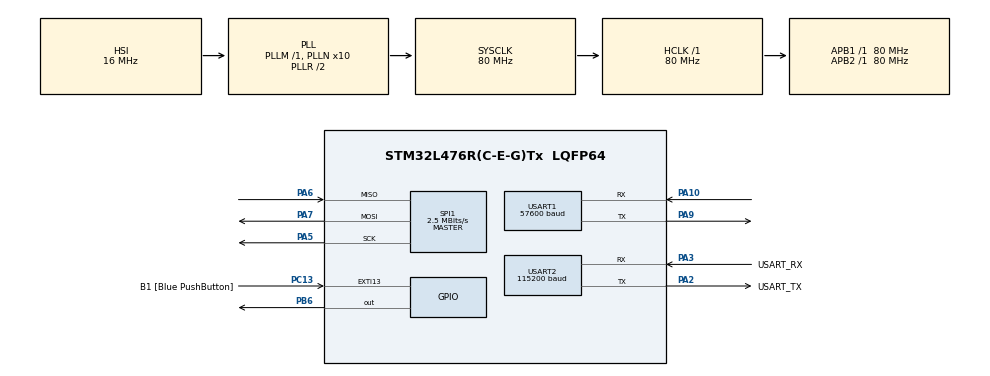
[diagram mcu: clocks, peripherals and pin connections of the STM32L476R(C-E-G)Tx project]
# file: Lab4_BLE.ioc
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Mcu.Family=STM32L4
Mcu.Name=STM32L476R(C-E-G)Tx
Mcu.Package=LQFP64
NVIC.PriorityGroup=NVIC_PRIORITYGROUP_4
NVIC.USART1_IRQn=true\:0\:0\:false\:false\:true\:true\:true\:true
PA10.Mode=Asynchronous
PA10.Signal=USART1_RX
PA13\ (JTMS-SWDIO).GPIO_Label=TMS
PA13\ (JTMS-SWDIO).Mode=Serial_Wire
PA13\ (JTMS-SWDIO).Signal=SYS_JTMS-SWDIO
PA14\ (JTCK-SWCLK).GPIO_Label=TCK
PA14\ (JTCK-SWCLK).Mode=Serial_Wire
PA14\ (JTCK-SWCLK).Signal=SYS_JTCK-SWCLK
PA2.GPIO_Label=USART_TX
PA2.GPIO_Mode=GPIO_MODE_AF_PP
PA2.GPIO_PuPd=GPIO_NOPULL
PA2.GPIO_Speed=GPIO_SPEED_FREQ_VERY_HIGH
PA2.Mode=Asynchronous
PA2.Signal=USART2_TX
PA3.GPIO_Label=USART_RX
PA3.GPIO_Mode=GPIO_MODE_AF_PP
PA3.GPIO_PuPd=GPIO_NOPULL
PA3.GPIO_Speed=GPIO_SPEED_FREQ_VERY_HIGH
PA3.Mode=Asynchronous
PA3.Signal=USART2_RX
PA5.Mode=Full_Duplex_Master
PA5.Signal=SPI1_SCK
PA6.Mode=Full_Duplex_Master
PA6.Signal=SPI1_MISO
PA7.Mode=Full_Duplex_Master
PA7.Signal=SPI1_MOSI
PA9.Mode=Asynchronous
PA9.Signal=USART1_TX
PB3\ (JTDO-TRACESWO).GPIO_Label=SWO
PB3\ (JTDO-TRACESWO).Signal=SYS_JTDO-SWO
PB6.Signal=GPIO_Output
PC13.GPIO_Label=B1 [Blue PushButton]
PC13.GPIO_ModeDefaultEXTI=GPIO_MODE_IT_FALLING
PC13.GPIO_PuPd=GPIO_NOPULL
PC13.Signal=GPXTI13
PC14-OSC32_IN\ (PC14).Mode=LSE-External-Oscillator
PC14-OSC32_IN\ (PC14).Signal=RCC_OSC32_IN
PC15-OSC32_OUT\ (PC15).Mode=LSE-External-Oscillator
PC15-OSC32_OUT\ (PC15).Signal=RCC_OSC32_OUT
PH0-OSC_IN\ (PH0).Signal=RCC_OSC_IN
PH1-OSC_OUT\ (PH1).Signal=RCC_OSC_OUT
ProjectManager.HeapSize=0x200
ProjectManager.StackSize=0x400
ProjectManager.TargetToolchain=STM32CubeIDE
RCC.ADCFreq_Value=64000000
RCC.AHBFreq_Value=80000000
RCC.APB1Freq_Value=80000000
RCC.APB1TimFreq_Value=80000000
RCC.APB2Freq_Value=80000000
RCC.APB2TimFreq_Value=80000000
RCC.CortexFreq_Value=80000000
RCC.HCLKFreq_Value=80000000
RCC.HSE_VALUE=8000000
RCC.HSI_VALUE=16000000
RCC.MSI_VALUE=4000000
RCC.PLLN=10
RCC.PLLSourceVirtual=RCC_PLLSOURCE_HSI
RCC.PREFETCH_ENABLE=1
RCC.SYSCLKFreq_VALUE=80000000
RCC.SYSCLKSource=RCC_SYSCLKSOURCE_PLLCLK
RCC.USBFreq_Value=64000000
RCC.VCOOutputFreq_Value=160000000
SPI1.BaudRatePrescaler=SPI_BAUDRATEPRESCALER_32
SPI1.CalculateBaudRate=2.5 MBits/s
SPI1.DataSize=SPI_DATASIZE_8BIT
SPI1.Direction=SPI_DIRECTION_2LINES
SPI1.Mode=SPI_MODE_MASTER
SPI1.NSSPMode=SPI_NSS_PULSE_DISABLE
SPI1.VirtualType=VM_MASTER
USART1.BaudRate=57600
USART1.VirtualMode-Asynchronous=VM_ASYNC
USART2.BaudRate=115200
USART2.VirtualMode-Asynchronous=VM_ASYNC
board=NUCLEO-L476RG

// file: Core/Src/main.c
/* USER CODE BEGIN Header */
/**
  ******************************************************************************
  * @file           : main.c
  * @brief          : Main program body
  ******************************************************************************
  * @attention
  *
  * Copyright (c) 2023 STMicroelectronics.
  * All rights reserved.
  *
  * This software is licensed under terms that can be found in the LICENSE file
  * in the root directory of this software component.
  * If no LICENSE file comes with this software, it is provided AS-IS.
  *
  ******************************************************************************
  */
/* USER CODE END Header */
#include "main.h"

/* USER CODE BEGIN Includes */
#include <stdio.h>
#include <stdlib.h>
#include <string.h>
/* USER CODE END Includes */

/* USER CODE BEGIN PM */

/************ASCII CHARACTERS**********/
#define DEL				0x08
#define EOT				0x04
#define NL				0x0D
#define CR				0x0A
#define SPACE			0x20

/************FILE MANAGEMENT***********/

//Chip Info
//22:46:51  $GPRMC,224651.00,A,4259.03282,N,08541.36921,W,0.033,,110223,,,A*61
//22:46:51  $GPVTG,,T,,M,0.033,N,0.062,K,A*27
//22:46:51  $GPGGA,224651.00,4259.03282,N,08541.36921,W,1,05,1.84,209.9,M,-34.5,M,,*6B
//22:46:51  $GPGSA,A,3,19,03,06,17,14,,,,,,,,3.65,1.84,3.15*06
//22:46:51  $GPGSV,2,1,08,01,27,045,16,03,26,089,14,06,39,204,20,11,02,212,*78
//22:46:51  $GPGSV,2,2,08,14,59,126,29,17,73,010,16,19,57,281,29,24,21,310,14*7A
//22:46:51  $GPGLL,4259.03282,N,08541.36921,W,224651.00,A,A*7B

//
#define DIR_FIL_ADDR	0x000000	//Initial addr of the Directory File
#define BLOCK_1_ADDR	0x001000	//The address of the first block in memory (excluding The Directory File)
#define	BLOCK_OFFSET	0x001000	//Add this value to the initial 4KB block addr to get the next block's initial address
#define END_ADDR_OFF	0x000FFF	//Add this value to the initial 4KB block addr value to get the end address
#define PAGE_END_OFF	0x0000FF
#define PAGE_OFFSET		0x000100
#define LAST_PAGE_OFF	0x000F00
#define TOC_ADDR		0x000000
#define TOC_OFFSET		0x000020

//Directory File Macros
#define BLOCKS_4KB		127
#define BLOCKS_32KB		16
#define BLOCKS_64KB		8
#define PAGE_COUNT		16

/**********SPI FLASH COMMANDS**********/
const uint8_t WR_EN = 0x06;			//Write Enable
const uint8_t WR_EN_VSR = 0x50;		//Write Enable for Volatile Status Register
const uint8_t WR_DIS = 0x04;		//Write Disable
const uint8_t RD_SR = 0x05;			//Read Status Register
const uint8_t WR_SR = 0x01;			//Write Status Register
const uint8_t RD_DATA = 0x03;		//Read Data
const uint8_t RD_FAST = 0x0B;		//Read Fast
const uint8_t RD_FAST_DO = 0x3B;	//Read Fast Dual Output
const uint8_t RD_FAST_DIO = 0xBB;	//Read Fast Dual Input/Output
const uint8_t PG_PROG = 0x02;		//Page Program
const uint8_t ERASE_4KB = 0x20;		//Sector Erase 4KB
const uint8_t ERASE_32KB = 0x52;	//Sector Erase 32KB
const uint8_t ERASE_64KB = 0xD8;	//Sector Erase 64KB
const uint8_t ERASE_CHIP = 0x60;	//Erase Chip Memory
const uint8_t PWR_DWN = 0xB9;		//Power Down
const uint8_t REL_PWR_DWN = 0xAB;	//Release Power Down

///**********WRONG SPI FLASH COMMANDS**********/
////Read
//const uint8_t READ_ARRAY_0 = 0x0B;		//Up to 104 MHz
//const uint8_t READ_ARRAY_1 = 0x03;		//Up to 33 MHz
//const uint8_t READ_DUAL_OUTPUT = 0x03;		//Up to 50 MHz
//
////Program and Erase Commands
//const uint8_t ERASE_PAGE = 0x81;		//Up to 104 MHz
//const uint8_t ERASE_4KBLK = 0x20;		//Up to 104 MHz
//const uint8_t ERASE_32KBLK = 0x52;		//Up to 104 MHz
//const uint8_t ERASE_64KBLK = 0xD8;		//Up to 104 MHz
//const uint8_t ERASE_CHIP = 0x60;		//Up to 104 MHz
//const uint8_t ERASE_BYTE = 0xC7;		//Up to 104 MHz
//const uint8_t PROG_BYTE = 0x02;			//Up to 104 MHz
//const uint8_t PROG_PAGE = 0x02;			//Up to 104 MHz
//const uint8_t PROG_SEQ_0 = 0xAD;  		//Up to 104 MHz
//const uint8_t PROG_SEQ_1 = 0xAF;  		//Up to 104 MHz
//const uint8_t PROG_DUAL_INPUT = 0xA2;	//Up to 104 MHz
//
//
////Protection Commands
//const uint8_t WR_EN = 0x06;  			//Up to 104 MHz
//const uint8_t WR_DIS = 0x04;  			//Up to 104 MHz
//const uint8_t PROT_SECT = 0x36;  		//Up to 104 MHz
//const uint8_t UNPROT_SECT = 0x39;  		//Up to 104 MHz
//const uint8_t RD_SECT_PROT_REG = 0x3C;  //Up to 104 MHz
//
////Security Commands
//const uint8_t PROG_OTP = 0x9B;			//Up to 104 MHz
//const uint8_t READ_OTP = 0x77;			//Up to 104 MHz
//
////Status Register Commands
//const uint8_t READ_STAT_REG = 0x05;  	//Up to 104 MHz
//const uint8_t ACTIVE_STAT_INT = 0x25;  	//Up to 104 MHz
//const uint8_t WR_STAT_B1 = 0x01;  		//Up to 104 MHz
//const uint8_t WR_STAT_B2 = 0x31;  		//Up to 104 MHz
//
////Misc Commands
//const uint8_t FLASH_RESET = 0xF0;  		//Up to 104 MHz
//const uint8_t MFT_ID = 0x9F;  			//Up to 104 MHz
//const uint8_t DEEP_PWR_DWN = 0xB9;  	//Up to 104 MHz
//const uint8_t RESUME = 0xAB;  			//Up to 104 MHz
//const uint8_t ULTRA_DPD = 0x79;  		//Up to 104 MHz

/* USER CODE END PM */

SPI_HandleTypeDef hspi1;

UART_HandleTypeDef huart1;
UART_HandleTypeDef huart2;

void SystemClock_Config(void);
static void MX_GPIO_Init(void);
static void MX_USART2_UART_Init(void);
static void MX_SPI1_Init(void);
static void MX_USART1_UART_Init(void);
/* USER CODE BEGIN PFP */
void writeEnable(void);
void writeDisable(void);
void readStatusRegister(void);
void pageProgram(uint32_t address, uint8_t *data, uint32_t size);
void readData(uint32_t address, uint8_t *data, uint32_t size);
void erase4KB(uint32_t address);
void erase32KB(uint32_t address);
void erase64KB(uint32_t address);
void eraseChip(void);

void confirmCmd(void);
uint8_t fileCensus(void);
uint8_t pageCensus(int blockStartAddr);
int getFileStart(uint8_t fileNum);
int getFileEnd(uint8_t fileNum);
void deleteFile(uint8_t fileNum);
void readFile(uint8_t fileNum);
int getFileSize(uint8_t fileNum);
int getUnavailableMemory(void);
int getAvailableMemory(void);
void storeFile(void);
void getTitle(uint8_t fileNum);
void printTOC(void);
void formatTOC(void);

/* USER CODE END PFP */

/* USER CODE BEGIN 0 */
// Global flags
volatile uint8_t spi_xmit_flag = 0;
volatile uint8_t spi_recv_flag = 0;

uint8_t rxData[20], cmd[50], cmdArg[50];
uint8_t txData[20];
uint8_t executeCmd, i, a, word;//Execute Command
uint8_t cmdResponse[100];

//char file[1028] = "Baby Baby\n\r\n\rBaby, baby, naughty baby,\n\rHush, you squalling thing, I say.\n\rPeace this moment, peace, or maybe\n\rBonaparte will pass this way.\n\r\n\rBaby, baby, he's a giant,\n\rTall and black as Rouen steeple,\n\rAnd he breakfasts, dines, rely on't,\n\rEvery day on naughty people.\n\r\n\rBaby, baby, if he hears you\n\rAs he gallops past the house,\n\rLimb from limb at once he'll tear you,\n\rJust as pussy tears a mouse.\n\r\n\rAnd he'll beat you, beat you, beat you,\n\rAnd he'll beat you into pap,\n\rAnd he'll eat you, eat you, eat you,\n\rEvery morsel snap, snap, snap.";

char file[1028];
char title[50] = {0};
char uart_buf[50];
int uart_buf_len;
uint8_t spi_buf[256];
uint8_t fileCount, pageCount;
uint32_t addr;

uint8_t* statReg;
uint8_t SRP, TB, BP2, BP1, BP0, WEL, BUSY;

uint8_t store, fileReceived;

int n;
/* USER CODE END 0 */

int main(void)
{

  /* MCU Configuration--------------------------------------------------------*/

  /* Reset of all peripherals, Initializes the Flash interface and the Systick. */
  HAL_Init();

  /* Configure the system clock */
  SystemClock_Config();

  /* Initialize all configured peripherals */
  MX_GPIO_Init();
  MX_USART2_UART_Init();
  MX_SPI1_Init();
  MX_USART1_UART_Init();
  /* USER CODE BEGIN 2 */

	//HAL_StatusTypeDef HAL_UART_Receive_IT(UART_HandleTypeDef *huart, uint8_t *pData, uint16_t Size)
	HAL_UART_Receive_IT(&huart1, rxData, 1);

	//HAL_StatusTypeDef HAL_UART_Transmit_IT(UART_HandleTypeDef *huart, const uint8_t *pData, uint16_t Size)
	HAL_UART_Transmit_IT(&huart1, txData, 1);

	// CS pin should default high
	HAL_GPIO_WritePin(GPIOB, GPIO_PIN_6, GPIO_PIN_SET);

//	/*****************COMMENT BELOW********************/
//	// Say something
//	uart_buf_len = sprintf(uart_buf, "SPI Test\r\n");
//	HAL_UART_Transmit(&huart2, (uint8_t *)uart_buf, uart_buf_len, 100);
//
//	addr = BLOCK_1_ADDR;
////	erase4KB(addr);

//	spi_buf[0] = 0xFF;
//	spi_buf[1] = 0xFF;
//	spi_buf[2] = 0xFF;
//
//	addr = BLOCK_1_ADDR;
//	readData(addr, spi_buf, 200);
//
//	readStatusRegister();
//	writeEnable();
//	readStatusRegister();
//
//	// Test bytes to write to EEPROM
//	spi_buf[0] = 0x12;
//	spi_buf[1] = 0x34;
//	spi_buf[2] = 0x56;
//
//	// Set starting address
//	addr = BLOCK_1_ADDR;
//
//	pageProgram(addr, spi_buf, 3);
//
//	spi_buf[0] = 0xFF;
//	spi_buf[1] = 0xFF;
//	spi_buf[2] = 0xFF;
//
//	addr = BLOCK_1_ADDR;
//	readData(addr, spi_buf, 3);
//	//buffer should read 12, 34, 56
//
//	readFile(1);

//	eraseChip();

//	pageProgram(0x000000 + BLOCK_OFFSET, (uint8_t*)file, 255);	//Store the incoming file at the next available location.
//	readData(0x000000 + BLOCK_OFFSET, spi_buf, 255);
//	HAL_UART_Transmit_IT(&huart1, spi_buf, 255);
//	HAL_UART_Transmit_IT(&huart1, "Hello World\n\r", 15);
//	getTitle(1);

//	int firstAddr, lastAddr, fileSize;
//	firstAddr = getFileStart(2);
//	lastAddr = getFileEnd(2);
//	fileSize = getFileSize(1);

	strcpy((char*)cmdResponse,"\r\n-->");
	HAL_UART_Transmit_IT(&huart1, cmdResponse, strlen((char *)cmdResponse));
	HAL_Delay(20);
  /* USER CODE END 2 */

  /* Infinite loop */
  /* USER CODE BEGIN WHILE */
	while (1){
		confirmCmd();
		if(fileReceived){
			storeFile();
		}
    /* USER CODE END WHILE */

	}
}

void SystemClock_Config(void)
{
  RCC_OscInitTypeDef RCC_OscInitStruct = {0};
  RCC_ClkInitTypeDef RCC_ClkInitStruct = {0};

  /** Configure the main internal regulator output voltage
  */
  if (HAL_PWREx_ControlVoltageScaling(PWR_REGULATOR_VOLTAGE_SCALE1) != HAL_OK)
  {
    Error_Handler();
  }

  /** Initializes the RCC Oscillators according to the specified parameters
  * in the RCC_OscInitTypeDef structure.
  */
  RCC_OscInitStruct.OscillatorType = RCC_OSCILLATORTYPE_HSI;
  RCC_OscInitStruct.HSIState = RCC_HSI_ON;
  RCC_OscInitStruct.HSICalibrationValue = RCC_HSICALIBRATION_DEFAULT;
  RCC_OscInitStruct.PLL.PLLState = RCC_PLL_ON;
  RCC_OscInitStruct.PLL.PLLSource = RCC_PLLSOURCE_HSI;
  RCC_OscInitStruct.PLL.PLLM = 1;
  RCC_OscInitStruct.PLL.PLLN = 10;
  RCC_OscInitStruct.PLL.PLLP = RCC_PLLP_DIV7;
  RCC_OscInitStruct.PLL.PLLQ = RCC_PLLQ_DIV2;
  RCC_OscInitStruct.PLL.PLLR = RCC_PLLR_DIV2;
  if (HAL_RCC_OscConfig(&RCC_OscInitStruct) != HAL_OK)
  {
    Error_Handler();
  }

  /** Initializes the CPU, AHB and APB buses clocks
  */
  RCC_ClkInitStruct.ClockType = RCC_CLOCKTYPE_HCLK|RCC_CLOCKTYPE_SYSCLK
                              |RCC_CLOCKTYPE_PCLK1|RCC_CLOCKTYPE_PCLK2;
  RCC_ClkInitStruct.SYSCLKSource = RCC_SYSCLKSOURCE_PLLCLK;
  RCC_ClkInitStruct.AHBCLKDivider = RCC_SYSCLK_DIV1;
  RCC_ClkInitStruct.APB1CLKDivider = RCC_HCLK_DIV1;
  RCC_ClkInitStruct.APB2CLKDivider = RCC_HCLK_DIV1;

  if (HAL_RCC_ClockConfig(&RCC_ClkInitStruct, FLASH_LATENCY_4) != HAL_OK)
  {
    Error_Handler();
  }
}

static void MX_SPI1_Init(void)
{

  /* SPI1 parameter configuration*/
  hspi1.Instance = SPI1;
  hspi1.Init.Mode = SPI_MODE_MASTER;
  hspi1.Init.Direction = SPI_DIRECTION_2LINES;
  hspi1.Init.DataSize = SPI_DATASIZE_8BIT;
  hspi1.Init.CLKPolarity = SPI_POLARITY_LOW;
  hspi1.Init.CLKPhase = SPI_PHASE_1EDGE;
  hspi1.Init.NSS = SPI_NSS_SOFT;
  hspi1.Init.BaudRatePrescaler = SPI_BAUDRATEPRESCALER_32;
  hspi1.Init.FirstBit = SPI_FIRSTBIT_MSB;
  hspi1.Init.TIMode = SPI_TIMODE_DISABLE;
  hspi1.Init.CRCCalculation = SPI_CRCCALCULATION_DISABLE;
  hspi1.Init.CRCPolynomial = 7;
  hspi1.Init.CRCLength = SPI_CRC_LENGTH_DATASIZE;
  hspi1.Init.NSSPMode = SPI_NSS_PULSE_DISABLE;
  if (HAL_SPI_Init(&hspi1) != HAL_OK)
  {
    Error_Handler();
  }

}

static void MX_USART1_UART_Init(void)
{

  huart1.Instance = USART1;
  huart1.Init.BaudRate = 57600;
  huart1.Init.WordLength = UART_WORDLENGTH_8B;
  huart1.Init.StopBits = UART_STOPBITS_1;
  huart1.Init.Parity = UART_PARITY_NONE;
  huart1.Init.Mode = UART_MODE_TX_RX;
  huart1.Init.HwFlowCtl = UART_HWCONTROL_NONE;
  huart1.Init.OverSampling = UART_OVERSAMPLING_16;
  huart1.Init.OneBitSampling = UART_ONE_BIT_SAMPLE_DISABLE;
  huart1.AdvancedInit.AdvFeatureInit = UART_ADVFEATURE_NO_INIT;
  if (HAL_UART_Init(&huart1) != HAL_OK)
  {
    Error_Handler();
  }

}

static void MX_USART2_UART_Init(void)
{

  huart2.Instance = USART2;
  huart2.Init.BaudRate = 115200;
  huart2.Init.WordLength = UART_WORDLENGTH_8B;
  huart2.Init.StopBits = UART_STOPBITS_1;
  huart2.Init.Parity = UART_PARITY_NONE;
  huart2.Init.Mode = UART_MODE_TX_RX;
  huart2.Init.HwFlowCtl = UART_HWCONTROL_NONE;
  huart2.Init.OverSampling = UART_OVERSAMPLING_16;
  huart2.Init.OneBitSampling = UART_ONE_BIT_SAMPLE_DISABLE;
  huart2.AdvancedInit.AdvFeatureInit = UART_ADVFEATURE_NO_INIT;
  if (HAL_UART_Init(&huart2) != HAL_OK)
  {
    Error_Handler();
  }

}

static void MX_GPIO_Init(void)
{
  GPIO_InitTypeDef GPIO_InitStruct = {0};

  /* GPIO Ports Clock Enable */
  __HAL_RCC_GPIOC_CLK_ENABLE();
  __HAL_RCC_GPIOH_CLK_ENABLE();
  __HAL_RCC_GPIOA_CLK_ENABLE();
  __HAL_RCC_GPIOB_CLK_ENABLE();

  /*Configure GPIO pin Output Level */
  HAL_GPIO_WritePin(GPIOB, GPIO_PIN_6, GPIO_PIN_RESET);

  /*Configure GPIO pin : B1_Pin */
  GPIO_InitStruct.Pin = B1_Pin;
  GPIO_InitStruct.Mode = GPIO_MODE_IT_FALLING;
  GPIO_InitStruct.Pull = GPIO_NOPULL;
  HAL_GPIO_Init(B1_GPIO_Port, &GPIO_InitStruct);

  /*Configure GPIO pin : PB6 */
  GPIO_InitStruct.Pin = GPIO_PIN_6;
  GPIO_InitStruct.Mode = GPIO_MODE_OUTPUT_PP;
  GPIO_InitStruct.Pull = GPIO_NOPULL;
  GPIO_InitStruct.Speed = GPIO_SPEED_FREQ_LOW;
  HAL_GPIO_Init(GPIOB, &GPIO_InitStruct);

}

/* USER CODE BEGIN 4 */
/*WRITE ENABLE*/  //WORKS
void writeEnable(void){
	HAL_GPIO_WritePin(GPIOB, GPIO_PIN_6, GPIO_PIN_RESET);
	HAL_SPI_Transmit(&hspi1, (uint8_t *)&WR_EN, 1, 100);
	HAL_GPIO_WritePin(GPIOB, GPIO_PIN_6, GPIO_PIN_SET);
}

/*WRITE DISABLE*/  //WORKS
void writeDisable(void){
	HAL_GPIO_WritePin(GPIOB, GPIO_PIN_6, GPIO_PIN_RESET);
	HAL_SPI_Transmit(&hspi1, (uint8_t *)&WR_DIS, 1, 100);
	HAL_GPIO_WritePin(GPIOB, GPIO_PIN_6, GPIO_PIN_SET);
}

/*READ STATUS REGISTER*/  //WORKS
void readStatusRegister(void){
	//Read Status Register
	HAL_GPIO_WritePin(GPIOB, GPIO_PIN_6, GPIO_PIN_RESET);
	HAL_SPI_Transmit(&hspi1, (uint8_t *)&RD_SR, 1, 100);
	HAL_SPI_Receive(&hspi1, statReg, 1, 100);
	HAL_GPIO_WritePin(GPIOB, GPIO_PIN_6, GPIO_PIN_SET);

	SRP = (*statReg 	& 0b10000000) >> 7;	//Status Register Protect
	TB  = (*statReg 	& 0b00100000) >> 5;	//Top/Bottom Protect
	BP2 = (*statReg 	& 0b00010000) >> 4;	//Block Protect 2
	BP1 = (*statReg 	& 0b00001000) >> 3;	//Block Protect 1
	BP0 = (*statReg 	& 0b00000100) >> 2;	//Block Protect 0
	WEL = (*statReg 	& 0b00000010) >> 1;	//Write Enable Latch
	BUSY = (*statReg & 0b00000001) >> 0;	//Erase/Write In Progress

	//	Print out status register
//	uart_buf_len = sprintf(uart_buf, "SRP: 0x%02x\r\n", SRP);
//	HAL_UART_Transmit(&huart2, (uint8_t *)uart_buf, uart_buf_len, 100);
//	uart_buf_len = sprintf(uart_buf, "TB: 0x%02x\r\n", SRP);
//	HAL_UART_Transmit(&huart2, (uint8_t *)uart_buf, uart_buf_len, 100);
//	uart_buf_len = sprintf(uart_buf, "BP2: 0x%02x\r\n", SRP);
//	HAL_UART_Transmit(&huart2, (uint8_t *)uart_buf, uart_buf_len, 100);
//	uart_buf_len = sprintf(uart_buf, "BP1: 0x%02x\r\n", SRP);
//	HAL_UART_Transmit(&huart2, (uint8_t *)uart_buf, uart_buf_len, 100);
//	uart_buf_len = sprintf(uart_buf, "BP0: 0x%02x\r\n", SRP);
//	HAL_UART_Transmit(&huart2, (uint8_t *)uart_buf, uart_buf_len, 100);
//	uart_buf_len = sprintf(uart_buf, "WEL: 0x%02x\r\n", SRP);
//	HAL_UART_Transmit(&huart2, (uint8_t *)uart_buf, uart_buf_len, 100);
//	uart_buf_len = sprintf(uart_buf, "BSY: 0x%02x\r\n", SRP);
//	HAL_UART_Transmit(&huart2, (uint8_t *)uart_buf, uart_buf_len, 100);
}

/*PAGE PROGRAM*/  //WORKS
void pageProgram(uint32_t address, uint8_t *data, uint32_t size){
	uint8_t command[4] = {PG_PROG, (address >> 16) & 0xFF, (address >> 8) & 0xFF, address & 0xFF};
	writeEnable();
	HAL_GPIO_WritePin(GPIOB, GPIO_PIN_6, GPIO_PIN_RESET);
	HAL_SPI_Transmit(&hspi1, command, 4, 100);
	HAL_SPI_Transmit(&hspi1, data, size, 100);
	HAL_GPIO_WritePin(GPIOB, GPIO_PIN_6, GPIO_PIN_SET);
	do{
		readStatusRegister();
	}while(BUSY && WEL);
}

/*READ DATA*/  //WORKS
void readData(uint32_t address, uint8_t *data, uint32_t size){
	uint8_t command[4] = {RD_DATA, (address >> 16) & 0xFF, (address >> 8) & 0xFF, address & 0xFF};
	HAL_GPIO_WritePin(GPIOB, GPIO_PIN_6, GPIO_PIN_RESET);
	HAL_SPI_Transmit(&hspi1, command, 4, 100);
	HAL_SPI_Receive(&hspi1, data, size, 100);
	HAL_GPIO_WritePin(GPIOB, GPIO_PIN_6, GPIO_PIN_SET);
}

/*ERASE 4K*/  //WORKS
void erase4KB(uint32_t address){
	uint8_t command[4] = {ERASE_4KB, (address >> 16) & 0xFF, (address >> 8) & 0xFF, address & 0xFF};
	writeEnable();
	HAL_GPIO_WritePin(GPIOB, GPIO_PIN_6, GPIO_PIN_RESET);
	HAL_SPI_Transmit(&hspi1, command, 4, 100);
	HAL_GPIO_WritePin(GPIOB, GPIO_PIN_6, GPIO_PIN_SET);
	do{
		readStatusRegister();
	}while(BUSY && WEL);
}

/*ERASE 32K*/  //WORKS
void erase32KB(uint32_t address){
	uint8_t command[4] = {ERASE_32KB, (address >> 16) & 0xFF, (address >> 8) & 0xFF, address & 0xFF};
	writeEnable();
	HAL_GPIO_WritePin(GPIOB, GPIO_PIN_6, GPIO_PIN_RESET);
	HAL_SPI_Transmit(&hspi1, command, 4, 100);
	HAL_GPIO_WritePin(GPIOB, GPIO_PIN_6, GPIO_PIN_SET);
	do{
		readStatusRegister();
	}while(BUSY && WEL);
}

/*ERASE 64K*/  //WORKS
void erase64KB(uint32_t address){
	uint8_t command[4] = {ERASE_64KB, (address >> 16) & 0xFF, (address >> 8) & 0xFF, address & 0xFF};
	writeEnable();
	HAL_GPIO_WritePin(GPIOB, GPIO_PIN_6, GPIO_PIN_RESET);
	HAL_SPI_Transmit(&hspi1, command, 4, 100);
	HAL_GPIO_WritePin(GPIOB, GPIO_PIN_6, GPIO_PIN_SET);
	do{
		readStatusRegister();
	}while(BUSY && WEL);
}

/*ERASE CHIPK*/  //WORKS
void eraseChip(void){
	writeEnable();
	HAL_GPIO_WritePin(GPIOB, GPIO_PIN_6, GPIO_PIN_RESET);
	HAL_SPI_Transmit(&hspi1, (uint8_t *)&ERASE_CHIP, 1, 100);
	HAL_GPIO_WritePin(GPIOB, GPIO_PIN_6, GPIO_PIN_SET);
	do{
		readStatusRegister();
	}while(BUSY && WEL);
}

void storeFile(void){
	uint8_t fileCount, pageCount = 0;
	fileCount = fileCensus();
	char filePacket[255];
	int address = fileCount * BLOCK_OFFSET;	//Get the address of the last file in memory
	int fileSize = strlen((char *)file);
	if(fileSize > 255){
		for(int startLocation = 0; startLocation < fileSize; startLocation += PAGE_OFFSET){
			int tempAddr = address + BLOCK_OFFSET + (PAGE_OFFSET * pageCount);
			memset((char *)filePacket, '\0', strlen((char *)filePacket));
			memcpy(filePacket, file + startLocation, PAGE_OFFSET);
			pageProgram(tempAddr, (uint8_t*)filePacket, PAGE_OFFSET);	//Store the incoming file at the next available location.
			HAL_Delay(500);
			pageCount++;
		}
	}else{
		pageProgram(address + BLOCK_OFFSET, (uint8_t*)file, 255);	//Store the incoming file at the next available location.
	}
	//Format the TOC after storing the data.
	formatTOC();
	memset((char *)file, '\0', strlen((char *)file));/*<--------------------------------------------------------------------------------------------------------------------*/
	strcpy((char*)cmdResponse,"\r\n-->");
	HAL_UART_Transmit_IT(&huart1, cmdResponse, strlen((char *)cmdResponse));

	memset((char *)cmd, '\0', strlen((char *)cmd));
	memset((char *)cmdArg, '\0', strlen((char *)cmdArg));
	fileReceived = 0;
}

void confirmCmd(void){
	if(executeCmd){
		if (strcmp((char*)cmd, "STORE") == 0){							//DONE
			//Send receipt of command
//			strcpy((char*)cmdResponse,"STORE EXEC\r\n");
//			HAL_UART_Transmit_IT(&huart1, cmdResponse, strlen((char *)cmdResponse));
//			memset((char *)cmd, '\0', strlen((char *)cmd));
//			memset((char *)cmdArg, '\0', strlen((char *)cmdArg));
			store = 1;
//			executeCmd = 0;
		}else if(strcmp((char*)cmd, "DELETE") == 0){					//DONE
			deleteFile(atoi((char *)cmdArg));
			formatTOC();
			HAL_Delay(1000);
			strcpy((char*)cmdResponse,"DELETE EXEC\r\n-->");
			HAL_UART_Transmit_IT(&huart1, cmdResponse, strlen((char *)cmdResponse));
			memset((char *)cmd, '\0', strlen((char *)cmd));
			memset((char *)cmdArg, '\0', strlen((char *)cmdArg));
			executeCmd = 0;
		}else if(strcmp((char*)cmd, "READ") == 0){						//DONE
			readFile(atoi((char *)cmdArg));
//			HAL_Delay(1000);
//			strcpy((char*)cmdResponse,"\r\nREAD EXEC\r\n-->");
//			HAL_UART_Transmit_IT(&huart1, cmdResponse, strlen((char *)cmdResponse));
//			memset((char *)cmd, '\0', strlen((char *)cmd));
//			memset((char *)cmdArg, '\0', strlen((char *)cmdArg));
			executeCmd = 0;
		}else if(strcmp((char*)cmd, "DIR") == 0){
//			formatTOC();
			printTOC();
//			strcpy((char*)cmdResponse,"DIR EXEC\r\n");
//			HAL_UART_Transmit_IT(&huart1, cmdResponse, strlen((char *)cmdResponse));
			strcpy((char*)cmdResponse,"\r\n-->");
			HAL_UART_Transmit_IT(&huart1, cmdResponse, strlen((char *)cmdResponse));
			memset((char *)cmd, '\0', strlen((char *)cmd));
			memset((char *)cmdArg, '\0', strlen((char *)cmdArg));
			executeCmd = 0;
		}else if(strcmp((char*)cmd, "MEM") == 0){						//Double-Check functionality when STORE works
//			getUnavailableMemory();
			getAvailableMemory();
			strcpy((char*)cmdResponse,"\r\n-->");
			HAL_UART_Transmit_IT(&huart1, cmdResponse, strlen((char *)cmdResponse));
			memset((char *)cmd, '\0', strlen((char *)cmd));
			memset((char *)cmdArg, '\0', strlen((char *)cmdArg));
			executeCmd = 0;
		}else if(strcmp((char*)cmd, "CLEAR") == 0){						//DONE
			eraseChip();
			HAL_Delay(1000);
			strcpy((char*)cmdResponse,"Chip erased successfully\r\n-->");
			HAL_UART_Transmit_IT(&huart1, cmdResponse, strlen((char *)cmdResponse));
			memset((char *)cmd, '\0', strlen((char *)cmd));
			memset((char *)cmdArg, '\0', strlen((char *)cmdArg));
			executeCmd = 0;
		}else{															//DONE
			//INVALID COMMAND
			strcpy((char*)cmdResponse,"INVALID\r\n-->");
			HAL_UART_Transmit_IT(&huart1, cmdResponse, strlen((char *)cmdResponse));
			memset((char *)cmd, '\0', strlen((char *)cmd));
			memset((char *)cmdArg, '\0', strlen((char *)cmdArg));
			executeCmd = 0;
		}
	}
}

void formatTOC(void){
	int address = 0;
	int f = 1, fileCount = 0;
	erase4KB(TOC_ADDR);
	HAL_Delay(100);
	//	Get a census of the files in memory and update the table.
	fileCount = fileCensus();

	for(f = 1; f <= fileCount; f++){
		memset(title, '\0', strlen(title));
		getTitle(f);

		for(address = 0; address < 0x1E0; address += TOC_OFFSET){	//Find the address to store the filename
			if(((address >> 5) + 1) == f){
				break;
			}
		}

		pageProgram(address, (uint8_t *)title, strlen(title)); //File in TOC take up 32 bytes.
		HAL_Delay(100);
//		readData(address, spi_buf, PAGE_OFFSET);
	}
}

void printTOC(void){
	int address = 0;
	uint8_t f, fileCount;
	fileCount = fileCensus();
	memset((char *)spi_buf, '\0', strlen((char *)spi_buf));
	for(f = 1; f <= fileCount; f++){
		for(address = 0; address < 0x1E0; address += TOC_OFFSET){	//Find the address to store the filename
			if(((address >> 5) + 1) == f){
				break;
			}
		}
		readData(address, spi_buf, 32);
		HAL_UART_Transmit_IT(&huart1, spi_buf, strlen((char *)spi_buf));
		HAL_Delay(500);
	}

//	readData(TOC_ADDR, spi_buf, 255);
//	HAL_UART_Transmit_IT(&huart1, spi_buf, strlen((char *)spi_buf));
//	HAL_Delay(500);
}

uint8_t fileCensus(void){
	//Go through all the starting addresses of ALL 4KB
	//sectors and keep track of all which don't start with 0xFF
	//need to get their location (Known) and filename.
	int address;
	fileCount = 0;
	for(address = BLOCK_1_ADDR; address < (BLOCK_1_ADDR * BLOCKS_4KB); address += BLOCK_OFFSET){
		memset((char *)spi_buf, '\0', strlen((char *)spi_buf));
		readData(address, spi_buf, 1);
		if(spi_buf[0] != 0xFF){
			fileCount++;
		}else{
			break;
		}
	}
	return fileCount;
}

uint8_t pageCensus(int blockStartAddr){
	//Go through all the starting addresses of ALL 4KB
	//sectors and keep track of all which don't start with 0xFF
	//need to get their location (Known) and filename.
	int address;
	pageCount = 0;
	for(address = blockStartAddr; address <= (blockStartAddr + LAST_PAGE_OFF); address += PAGE_OFFSET){
		memset((char *)spi_buf, '\0', strlen((char *)spi_buf));
		readData(address, spi_buf, 1);
		if(spi_buf[0] != 0xFF){
			pageCount++;
		}else{
			break;
		}
	}
	return pageCount;
}

void getTitle(uint8_t fileNum){
	int addr = 0, i = 4, fileSize;
	char fileNumString[10], fileSizeString[20];
	memset((char *)fileNumString, '\0', strlen((char *)fileNumString));
	sprintf(fileNumString, "%d", (int)fileNum);

	title[0] = '\r';
	title[1] = '\n';
//	strcpy(&title[2], fileNumString);
//	title[3] = '-';

	i = 2 + strlen(fileNumString);
	for (int j = 2; j < i; j++) {
		title[j] = fileNumString[j - 2];
	}
	title[i] = '-';
	i+=1;
	addr = getFileStart(fileNum);
	readData(addr, spi_buf, 1);
	title[i] = spi_buf[0];
	for(addr = getFileStart(fileNum); spi_buf[0] != '\r'; addr++){
		readData(addr, spi_buf, 1);
		HAL_Delay(5);
		if(spi_buf[0] != '\r'){
			title[i] = spi_buf[0];
			i++;
		}else{
			break;
		}
	}
	fileSize = getFileSize(fileNum);
	sprintf(fileSizeString, " %d Bytes", fileSize);
	strcpy(&title[i], fileSizeString);
	i += strlen(fileSizeString);

	do{
		title[i] = '\x20';
		i++;
	}while(i < 32);
}

int getFileStart(uint8_t fileNum){
	int address;
	for(address = BLOCK_1_ADDR; address < (BLOCK_1_ADDR * BLOCKS_4KB); address += BLOCK_OFFSET){
		if((address >> 12) == fileNum){
			memset((char *)spi_buf, '\0', strlen((char *)spi_buf));
			readData(address, spi_buf, 1);
			if(spi_buf[0] != 0xFF){
				return address;
			}else{
				return 0;
			}
		}
	}
}

int getFileEnd(uint8_t fileNum){
	//Two Options

	//Option ONE:
	//read in page by page starting at the starting address until 0xFF char is found
	int address, pageAddr, charAddr;
	for(address = BLOCK_1_ADDR; address < (BLOCK_1_ADDR * BLOCKS_4KB); address += BLOCK_OFFSET){		//Find the desired 4KB Mem Block
		if((address >> 12) == fileNum){																	//Determine if the address corresponds to the file
			for(pageAddr = address + LAST_PAGE_OFF; pageAddr > address; pageAddr -= PAGE_OFFSET){		//Determine which page has data in decending order
				memset((char *)spi_buf, '\0', strlen((char *)spi_buf));
				readData(pageAddr, spi_buf, 1);
				if(spi_buf[0] != 0xFF){
					for(charAddr = pageAddr; charAddr  < (pageAddr + PAGE_END_OFF); charAddr++){
						memset((char *)spi_buf, '\0', strlen((char *)spi_buf));
						readData(charAddr, spi_buf, 1);
						if(spi_buf[0] == '\0'){
							return charAddr;
						}else{
							continue;
						}
					}
				}else{
					continue;
				}
			}
		}
	}

	//Option TWO:
	//Count from the end of the 4KB sector until non-0xFF data is found

	return 0;
}

void deleteFile(uint8_t fileNum){
	//Find the file to delete
	//Delete File
	//Move last file in memory up to recently-deleted file.
	//Choose whether to move the entire file at once of breakdown file into data packets.

	int address;
	for(address = BLOCK_1_ADDR; address < (BLOCK_1_ADDR * BLOCKS_4KB); address += BLOCK_OFFSET){
		if((address >> 12) == fileNum){
			//DELETE 4KB sector
			erase4KB(address);
			break;
		}
	}
}

void readFile(uint8_t fileNum){
	//Find the file to delete
	//Delete File
	//Move last file in memory up to recently-deleted file.
	//Choose whether to move the entire file at once of breakdown file into data packets.
//	uint8_t pageCount = 0;
	int address;
	for(address = BLOCK_1_ADDR; address < (BLOCK_1_ADDR * BLOCKS_4KB); address += BLOCK_OFFSET){
		if((address >> 12) == fileNum){
			pageCount = pageCensus(address);
			if(pageCount > 1){
				for(int startLocation = 0; startLocation < (PAGE_OFFSET * pageCount); startLocation += PAGE_OFFSET){
					int tempAddr = address + startLocation;
					readData(tempAddr, spi_buf, PAGE_OFFSET);	//Store the incoming file at the next available location.
					HAL_UART_Transmit_IT(&huart1, spi_buf, PAGE_OFFSET);
					HAL_Delay(500);
				}
			}else{
				readData(address, spi_buf,PAGE_OFFSET);
				HAL_UART_Transmit_IT(&huart1, spi_buf, PAGE_OFFSET);
				HAL_Delay(500);
			}

			//	pageProgram(address + BLOCK_OFFSET, (uint8_t*)file, strlen(file));	//Store the incoming file at the next available location.
			//Format the TOC after storing the data.
			//	formatTOC();
			memset((char *)file, '\0', strlen((char *)file));
			strcpy((char*)cmdResponse,"\r\n-->");
			HAL_UART_Transmit_IT(&huart1, cmdResponse, strlen((char *)cmdResponse));
			break;
		}
	}
}

int getFileSize(uint8_t fileNum){
	//Given the starting address and the last address of the file, determine the file-size
	int startAddr, endAddr;
	startAddr = getFileStart(fileNum);
	endAddr = getFileEnd(fileNum);
	return endAddr - startAddr; //returns number of bytes in the file
}

int getUnavailableMemory(void){
//	char buffer[20];
	int j, totalMemUsed = 0;
	for(j = 1; j < BLOCKS_4KB; j++){
		totalMemUsed += getFileSize(j);
	}
//	sprintf(buffer, "%d bytes\r\n", totalMemUsed);
//	HAL_UART_Transmit_IT(&huart1, (uint8_t *) buffer, strlen(buffer));
//	HAL_Delay(500);
//	memset((char *)cmd, '\0', strlen((char *)cmd));
//	memset((char *)cmdArg, '\0', strlen((char *)cmdArg));
	return totalMemUsed;
}

int getAvailableMemory(void){
	char buffer[20];
	int totalMem = 524287 /*Bytes*/, availableMem, unavailableMem;
	unavailableMem = getUnavailableMemory();
	availableMem = totalMem - unavailableMem;
	sprintf(buffer, "%d Bytes Available\r\n", availableMem);
	HAL_UART_Transmit_IT(&huart1, (uint8_t *) buffer, strlen(buffer));
	HAL_Delay(500);
	memset((char *)cmd, '\0', strlen((char *)cmd));
	memset((char *)cmdArg, '\0', strlen((char *)cmdArg));
	return availableMem;
}

void HAL_UART_RxCpltCallback(UART_HandleTypeDef *huart){
	int length = (sizeof(cmd)/sizeof(cmd[0]));
	//Re-enable UART RX interrupt
	//HAL_StatusTypeDef HAL_UART_Receive_IT(UART_HandleTypeDef *huart, uint8_t *pData, uint16_t Size)
	HAL_UART_Receive_IT(&huart1, rxData, 1);
//	HAL_UART_Transmit_IT(&huart1, rxData, 1);

	if(executeCmd){
		if(store){
			if(rxData[0] != EOT){
				file[n] = rxData[0];
				n++;
			}else{
				file[n] = rxData[0];	//Store the EOT from the incoming file
				n = 0;
				executeCmd = 0;
				store = 0;
				fileReceived = 1;
			}
		}
	}else{
		if(word == 0){
//			if(rxData[0] == DEL){
//				cmd[i] = '\0';
//				i--;
			/*}else */if(rxData[0] == NL){
				//Do nothing
			}else if(rxData[0] == CR){
				executeCmd = 1;//Execute Command
				i = 0;
				a = 0;
			}else if(rxData[0] != SPACE){
				cmd[i] = rxData[0];
				i++;
				if(i > length){
					i = 0;
				}
			}else{
				word = 1;
			}
		}else if(word == 1){
//			if(rxData[0] == DEL){
//				cmdArg[a] = '\0';
//				a--;
			/*}else*/ if(rxData[0] == NL){
				//Do nothing
			}else if(rxData[0] == CR){
				executeCmd = 1;//Execute Command
				word = 0;
				i = 0;
				a = 0;
			}else if(rxData[0] != SPACE){
				cmdArg[a] = rxData[0];
				a++;
				if(a > length){
					a = 0;
				}
			}else{
				//Do nothing
			}
		}
	}
}

void HAL_UART_TxCpltCallback(UART_HandleTypeDef *huart){
	//Do nothing
}

/* USER CODE END 4 */

void Error_Handler(void)
{
  __disable_irq();
  while (1)
  {
  }
}
